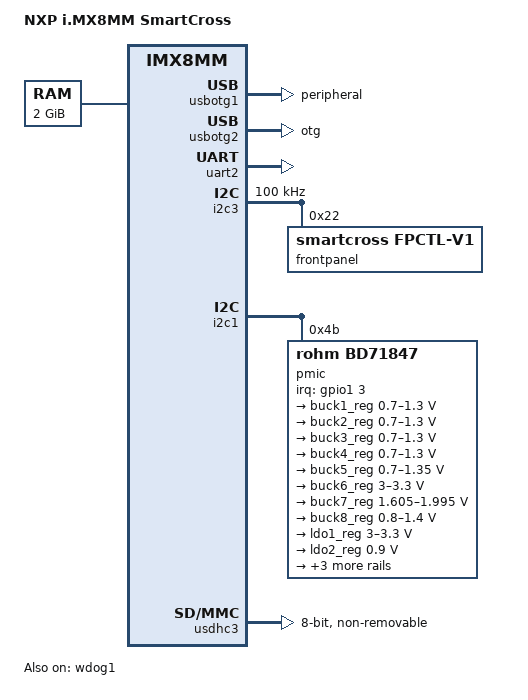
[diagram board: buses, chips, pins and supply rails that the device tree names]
// SPDX-License-Identifier: GPL-2.0+
 /*
  * Copyright 2018 NXP
  */

/dts-v1/;

#include "imx8mm.dtsi"

/ {
	model = "NXP i.MX8MM SmartCross";
	compatible = "fsl,imx8mm";

	chosen {
		stdout-path = &uart2;
	};

	aliases {
		usbgadget0 = &usbg1;
	};

	memory@40000000 {
		device_type = "memory";
		reg = <0x0 0x40000000 0 0x80000000>;
	};

	usbg1: usbg1 {
		compatible = "fsl,imx27-usb-gadget";
		dr_mode = "peripheral";
		chipidea,usb = <&usbotg1>;
		status = "okay";
	};
};

&wdog1 {
	pinctrl-names = "default";
	pinctrl-0 = <&pinctrl_wdog>;
	fsl,ext-reset-output;
	status = "okay";
};

&usbotg1 {
	dr_mode = "peripheral";
	samsung,picophy-pre-emp-curr-control = <3>;
	samsung,picophy-dc-vol-level-adjust = <7>;
	status = "okay";
};

&usbotg2 {
	dr_mode = "otg";
	samsung,picophy-pre-emp-curr-control = <3>;
	samsung,picophy-dc-vol-level-adjust = <7>;
	status = "okay";
};

&uart2 { /* console */
	pinctrl-names = "default";
	pinctrl-0 = <&pinctrl_uart2>;
	status = "okay";
};

&i2c3 {
	clock-frequency = <100000>;
	pinctrl-names = "default";
	pinctrl-0 = <&pinctrl_i2c3>;
	status = "okay";

	frontpanel: fpctl@22 {
		reg = <0x22>;
		compatible = "smartcross,fpctl-v1";
	};
};

&i2c1 {
	pmic: pmic@4b {
		compatible = "rohm,bd71847";
		reg = <0x4b>;
		pinctrl-0 = <&pinctrl_pmic>;
		interrupt-parent = <&gpio1>;
		interrupts = <3 GPIO_ACTIVE_LOW>;
		rohm,reset-snvs-powered;

		regulators {
						buck1_reg: BUCK1 {
				regulator-name = "buck1";
				regulator-min-microvolt = <700000>;
				regulator-max-microvolt = <1300000>;
				regulator-boot-on;
				regulator-always-on;
				regulator-ramp-delay = <1250>;
			};

			buck2_reg: BUCK2 {
				regulator-name = "buck2";
				regulator-min-microvolt = <700000>;
				regulator-max-microvolt = <1300000>;
				regulator-boot-on;
				regulator-always-on;
				regulator-ramp-delay = <1250>;
				rohm,dvs-run-voltage = <1000000>;
				rohm,dvs-idle-voltage = <900000>;
			};

			buck3_reg: BUCK3 {
				regulator-name = "buck3";
				regulator-min-microvolt = <700000>;
				regulator-max-microvolt = <1300000>;
			};

			buck4_reg: BUCK4 {
				regulator-name = "buck4";
				regulator-min-microvolt = <700000>;
				regulator-max-microvolt = <1300000>;
			};

			buck5_reg: BUCK5 {
				regulator-name = "buck5";
				regulator-min-microvolt = <700000>;
				regulator-max-microvolt = <1350000>;
				regulator-boot-on;
				regulator-always-on;
			};

			buck6_reg: BUCK6 {
				regulator-name = "buck6";
				regulator-min-microvolt = <3000000>;
				regulator-max-microvolt = <3300000>;
				regulator-boot-on;
				regulator-always-on;
			};

			buck7_reg: BUCK7 {
				regulator-name = "buck7";
				regulator-min-microvolt = <1605000>;
				regulator-max-microvolt = <1995000>;
				regulator-boot-on;
				regulator-always-on;
			};

			buck8_reg: BUCK8 {
				regulator-name = "buck8";
				regulator-min-microvolt = <800000>;
				regulator-max-microvolt = <1400000>;
				regulator-boot-on;
				regulator-always-on;
			};

			ldo1_reg: LDO1 {
				regulator-name = "ldo1";
				regulator-min-microvolt = <3000000>;
				regulator-max-microvolt = <3300000>;
				regulator-boot-on;
				regulator-always-on;
			};

			ldo2_reg: LDO2 {
				regulator-name = "ldo2";
				regulator-min-microvolt = <900000>;
				regulator-max-microvolt = <900000>;
				regulator-boot-on;
				regulator-always-on;
			};

			ldo3_reg: LDO3 {
				regulator-name = "ldo3";
				regulator-min-microvolt = <1800000>;
				regulator-max-microvolt = <3300000>;
				regulator-boot-on;
				regulator-always-on;
			};

			ldo4_reg: LDO4 {
				regulator-name = "ldo4";
				regulator-min-microvolt = <900000>;
				regulator-max-microvolt = <1800000>;
				regulator-boot-on;
				regulator-always-on;
			};

			ldo6_reg: LDO6 {
				regulator-name = "ldo6";
				regulator-min-microvolt = <900000>;
				regulator-max-microvolt = <1800000>;
				regulator-boot-on;
				regulator-always-on;
			};
		};
	};
};

&usdhc3 {
	assigned-clocks = <&clk IMX8MM_CLK_USDHC3_ROOT>;
	assigned-clock-rates = <400000000>;
	pinctrl-names = "default", "state_100mhz", "state_200mhz";
	pinctrl-0 = <&pinctrl_usdhc3>;
	pinctrl-1 = <&pinctrl_usdhc3_100mhz>;
	pinctrl-2 = <&pinctrl_usdhc3_200mhz>;
	bus-width = <8>;
	non-removable;
	status = "okay";
};

&iomuxc {
	pinctrl_usdhc3: usdhc3grp {
		fsl,pins = <
			MX8MM_IOMUXC_NAND_WE_B_USDHC3_CLK               0x190
			MX8MM_IOMUXC_NAND_WP_B_USDHC3_CMD               0x1d0
			MX8MM_IOMUXC_NAND_DATA04_USDHC3_DATA0           0x1d0
			MX8MM_IOMUXC_NAND_DATA05_USDHC3_DATA1           0x1d0
			MX8MM_IOMUXC_NAND_DATA06_USDHC3_DATA2           0x1d0
			MX8MM_IOMUXC_NAND_DATA06_USDHC3_DATA2           0x1d0
			MX8MM_IOMUXC_NAND_DATA07_USDHC3_DATA3           0x1d0
			MX8MM_IOMUXC_NAND_RE_B_USDHC3_DATA4             0x1d0
			MX8MM_IOMUXC_NAND_CE2_B_USDHC3_DATA5            0x1d0
			MX8MM_IOMUXC_NAND_CE3_B_USDHC3_DATA6            0x1d0
			MX8MM_IOMUXC_NAND_CLE_USDHC3_DATA7              0x1d0
			MX8MM_IOMUXC_NAND_CE1_B_USDHC3_STROBE           0x190
		>;
	};

	pinctrl_usdhc3_100mhz: usdhc3-100mhzgrp {
		fsl,pins = <
			MX8MM_IOMUXC_NAND_WE_B_USDHC3_CLK               0x194
			MX8MM_IOMUXC_NAND_WP_B_USDHC3_CMD               0x1d4
			MX8MM_IOMUXC_NAND_DATA04_USDHC3_DATA0           0x1d4
			MX8MM_IOMUXC_NAND_DATA05_USDHC3_DATA1           0x1d4
			MX8MM_IOMUXC_NAND_DATA06_USDHC3_DATA2           0x1d4
			MX8MM_IOMUXC_NAND_DATA07_USDHC3_DATA3           0x1d4
			MX8MM_IOMUXC_NAND_RE_B_USDHC3_DATA4             0x1d4
			MX8MM_IOMUXC_NAND_CE2_B_USDHC3_DATA5            0x1d4
			MX8MM_IOMUXC_NAND_CE3_B_USDHC3_DATA6            0x1d4
			MX8MM_IOMUXC_NAND_CLE_USDHC3_DATA7              0x1d4
			MX8MM_IOMUXC_NAND_CE1_B_USDHC3_STROBE           0x194
		>;
	};

	pinctrl_usdhc3_200mhz: usdhc3-200mhzgrp {
		fsl,pins = <
			MX8MM_IOMUXC_NAND_WE_B_USDHC3_CLK               0x196
			MX8MM_IOMUXC_NAND_WP_B_USDHC3_CMD               0x1d6
			MX8MM_IOMUXC_NAND_DATA04_USDHC3_DATA0           0x1d6
			MX8MM_IOMUXC_NAND_DATA05_USDHC3_DATA1           0x1d6
			MX8MM_IOMUXC_NAND_DATA06_USDHC3_DATA2           0x1d6
			MX8MM_IOMUXC_NAND_DATA07_USDHC3_DATA3           0x1d6
			MX8MM_IOMUXC_NAND_RE_B_USDHC3_DATA4             0x1d6
			MX8MM_IOMUXC_NAND_CE2_B_USDHC3_DATA5            0x1d6
			MX8MM_IOMUXC_NAND_CE3_B_USDHC3_DATA6            0x1d6
			MX8MM_IOMUXC_NAND_CLE_USDHC3_DATA7              0x1d6
			MX8MM_IOMUXC_NAND_CE1_B_USDHC3_STROBE           0x196
		>;
	};

	pinctrl_i2c1: i2c1grp {
		fsl,pins = <
			MX8MM_IOMUXC_I2C1_SCL_I2C1_SCL			0x400001c3
			MX8MM_IOMUXC_I2C1_SDA_I2C1_SDA			0x400001c3
		>;
	};

	pinctrl_pmic: pmicirqgrp {
		fsl,pins = <
			MX8MM_IOMUXC_GPIO1_IO03_GPIO1_IO3		0x141
		>;
	};

	pinctrl_wdog: wdoggrp {
		fsl,pins = <
			MX8MM_IOMUXC_GPIO1_IO02_WDOG1_WDOG_B	0xc6
		>;
	};

	pinctrl_uart2: uart2grp {
		fsl,pins = <
			MX8MM_IOMUXC_UART2_RXD_UART2_DCE_RX	0x140
			MX8MM_IOMUXC_UART2_TXD_UART2_DCE_TX	0x140
		>;
	};

	pinctrl_i2c3: i2c3grp {
		fsl,pins = <
			MX8MM_IOMUXC_I2C3_SCL_I2C3_SCL			0x400001c3
			MX8MM_IOMUXC_I2C3_SDA_I2C3_SDA			0x400001c3
		>;
	};
};

&A53_0 {
	cpu-supply = <&buck2_reg>;
};

&A53_1 {
	cpu-supply = <&buck2_reg>;
};

&A53_2 {
	cpu-supply = <&buck2_reg>;
};

&A53_3 {
	cpu-supply = <&buck2_reg>;
};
